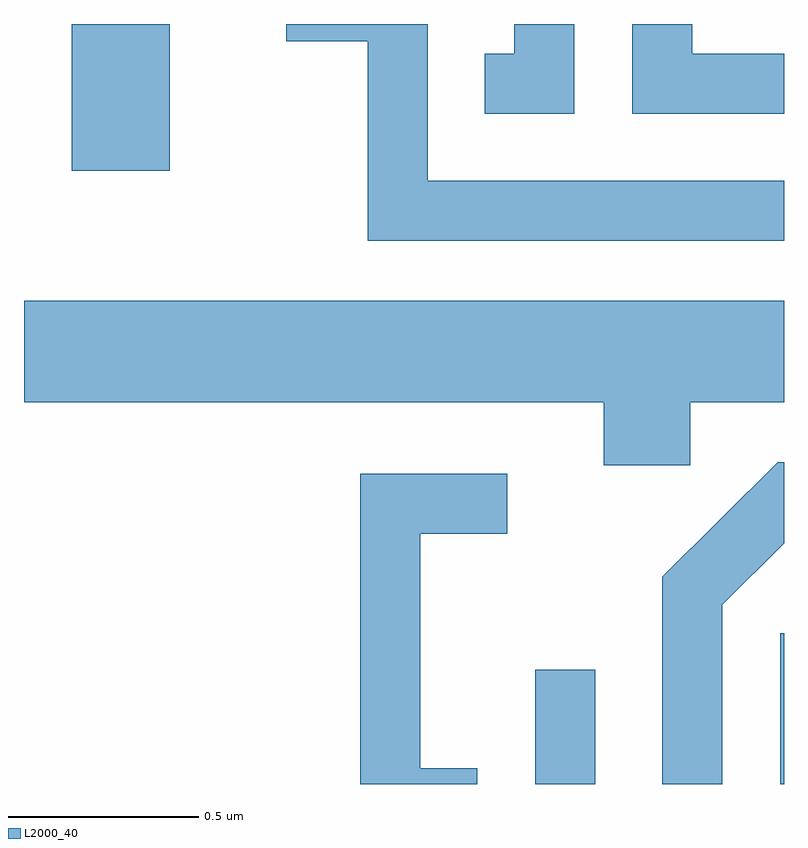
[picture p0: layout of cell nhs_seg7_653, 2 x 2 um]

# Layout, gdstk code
import gdstk
lib = gdstk.Library(unit=1e-6, precision=1e-09)
def R(c, l, rs):  # rectangles x0, y0, x1, y1
    for r in rs: c.add(gdstk.rectangle(r[:2], r[2:], *l))
def P(c, l, *ps):  # polygons
    for p in ps: c.add(gdstk.Polygon(p, *l))
L2000_40 = (2000, 40)

nhs_seg7_653 = lib.new_cell('nhs_seg7_653')
R(nhs_seg7_653, L2000_40, [(190.956,1773.252,191.114,1773.553), (191.601,1773.252,191.611,1773.649), (189.736,1774.866,189.994,1775.252)])
P(nhs_seg7_653, L2000_40, [(191.611,1774.839),(190.674,1774.839),(190.674,1775.252),(190.301,1775.252),(190.301,1775.206),(190.516,1775.206),(190.516,1774.681),(191.611,1774.681)],
  [(191.611,1775.174),(191.369,1775.174),(191.369,1775.252),(191.211,1775.252),(191.211,1775.016),(191.611,1775.016)],
  [(191.059,1775.252),(190.901,1775.252),(190.901,1775.174),(190.823,1775.174),(190.823,1775.016),(191.059,1775.016)],
  [(191.364,1774.256),(191.611,1774.256),(191.611,1774.524),(189.611,1774.524),(189.611,1774.256),(191.136,1774.256),(191.136,1774.091),(191.364,1774.091)],
  [(191.449,1773.724),(191.611,1773.885),(191.611,1774.099),(191.594,1774.099),(191.291,1773.797),(191.291,1773.252),(191.449,1773.252)],
  [(190.804,1773.294),(190.654,1773.294),(190.654,1773.911),(190.883,1773.911),(190.883,1774.069),(190.496,1774.069),(190.496,1773.252),(190.804,1773.252)])

lib.write_gds('nhs_seg7_653.gds')
